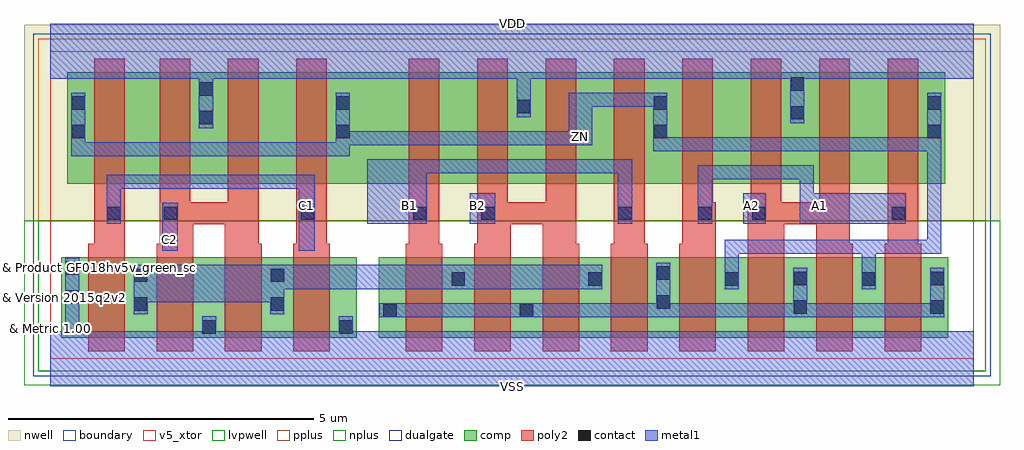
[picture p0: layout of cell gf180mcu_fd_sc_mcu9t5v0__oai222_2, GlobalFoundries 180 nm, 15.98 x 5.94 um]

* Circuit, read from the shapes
.subckt gf180mcu_fd_sc_mcu9t5v0__oai222_2 A1 A2 B1 B2 C1 C2 VDD VSS ZN
XM1 n1 C1 VSS VSUBS nfet_05v0 w=1.32u l=0.6u m=2
XM2 VSS C2 n1 VSUBS nfet_05v0 w=1.32u l=0.6u m=2
XM3 n1 B1 n2 VSUBS nfet_05v0 w=1.32u l=0.6u m=2
XM4 n2 B2 n1 VSUBS nfet_05v0 w=1.32u l=0.6u m=2
XM5 ZN A1 n2 VSUBS nfet_05v0 w=1.32u l=0.6u m=2
XM6 n2 A2 ZN VSUBS nfet_05v0 w=1.32u l=0.6u m=2
XM7 n3 C1 ZN n4 pfet_05v0 w=1.83u l=0.5u
XM8 VDD C2 n3 n4 pfet_05v0 w=1.83u l=0.5u
XM9 n5 C2 VDD n4 pfet_05v0 w=1.83u l=0.5u
XM10 ZN C1 n5 n4 pfet_05v0 w=1.83u l=0.5u
XM11 n6 B1 ZN n4 pfet_05v0 w=1.83u l=0.5u
XM12 VDD B2 n6 n4 pfet_05v0 w=1.83u l=0.5u
XM13 n7 B2 VDD n4 pfet_05v0 w=1.83u l=0.5u
XM14 ZN B1 n7 n4 pfet_05v0 w=1.83u l=0.5u
XM15 n8 A1 ZN n4 pfet_05v0 w=1.83u l=0.5u
XM16 VDD A2 n8 n4 pfet_05v0 w=1.83u l=0.5u
XM17 n9 A2 VDD n4 pfet_05v0 w=1.83u l=0.5u
XM18 ZN A1 n9 n4 pfet_05v0 w=1.83u l=0.5u
.ends

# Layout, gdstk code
import gdstk
lib = gdstk.Library(unit=1e-6, precision=1e-09)
def R(c, l, rs):  # rectangles x0, y0, x1, y1
    for r in rs: c.add(gdstk.rectangle(r[:2], r[2:], *l))
def A(c, l, x, y, w, h, nx, ny, dx, dy):  # array of equal rectangles
    R(c, l, [(x+i*dx, y+j*dy, x+i*dx+w, y+j*dy+h) for i in range(nx) for j in range(ny)])
def P(c, l, *ps):  # polygons
    for p in ps: c.add(gdstk.Polygon(p, *l))
boundary = (0, 0)
nwell = (21, 0)
comp = (22, 0)
poly2 = (30, 0)
pplus = (31, 0)
nplus = (32, 0)
contact = (33, 0)
metal1 = (34, 0)
dualgate = (55, 0)
v5_xtor = (112, 1)
lvpwell = (204, 0)

gf180mcu_fd_sc_mcu9t5v0_ = lib.new_cell('gf180mcu_fd_sc_mcu9t5v0__oai222_2')
R(gf180mcu_fd_sc_mcu9t5v0_, boundary, [(0,0,15.12,5.04)])
R(gf180mcu_fd_sc_mcu9t5v0_, nwell, [(-0.43,2.265,15.55,5.47)])
R(gf180mcu_fd_sc_mcu9t5v0_, comp, [(0.18,0.345,5.02,1.665), (5.38,0.345,14.7,1.665), (0.28,2.865,14.65,4.695)])
P(gf180mcu_fd_sc_mcu9t5v0_, poly2, [(0.62,0.125),(0.62,1.885),(0.72,1.885),(0.72,4.915),(1.22,4.915),(1.22,0.125)],
  [(1.74,0.125),(1.74,1.885),(1.79,1.885),(1.79,4.915),(2.29,4.915),(2.29,2.565),(2.91,2.565),(2.91,4.915),(3.41,4.915),(3.41,1.885),(3.46,1.885),(3.46,0.125),(2.86,0.125),(2.86,2.205),(2.34,2.205),(2.34,0.125)],
  [(3.98,0.125),(3.98,1.885),(4.03,1.885),(4.03,4.915),(4.53,4.915),(4.53,1.885),(4.58,1.885),(4.58,0.125)],
  [(5.82,0.125),(5.82,1.885),(5.87,1.885),(5.87,4.915),(6.37,4.915),(6.37,1.885),(6.42,1.885),(6.42,0.125)],
  [(6.94,0.125),(6.94,1.885),(6.99,1.885),(6.99,4.915),(7.49,4.915),(7.49,2.565),(8.11,2.565),(8.11,4.915),(8.61,4.915),(8.61,1.885),(8.66,1.885),(8.66,0.125),(8.06,0.125),(8.06,2.205),(7.54,2.205),(7.54,0.125)],
  [(9.18,0.125),(9.18,1.885),(9.23,1.885),(9.23,4.915),(9.73,4.915),(9.73,1.885),(9.78,1.885),(9.78,0.125)],
  [(10.3,0.125),(10.3,1.885),(10.35,1.885),(10.35,4.915),(10.85,4.915),(10.85,2.565),(10.9,2.565),(10.9,0.125)],
  [(11.42,0.125),(11.42,2.565),(11.47,2.565),(11.47,4.915),(11.97,4.915),(11.97,2.565),(12.59,2.565),(12.59,4.915),(13.09,4.915),(13.09,1.885),(13.14,1.885),(13.14,0.125),(12.54,0.125),(12.54,2.205),(12.02,2.205),(12.02,0.125)],
  [(13.66,0.125),(13.66,1.885),(13.71,1.885),(13.71,4.915),(14.21,4.915),(14.21,1.885),(14.26,1.885),(14.26,0.125)])
R(gf180mcu_fd_sc_mcu9t5v0_, pplus, [(-0.2,2.265,15.32,5.24)])
R(gf180mcu_fd_sc_mcu9t5v0_, nplus, [(-0.2,-0.2,15.32,2.265)])
A(gf180mcu_fd_sc_mcu9t5v0_, contact, 6.57, 1.2, 0.22, 0.22, 4, 1, 2.24, 0)
R(gf180mcu_fd_sc_mcu9t5v0_, contact, [(2.49,0.415,2.71,0.635), (4.73,0.415,4.95,0.635), (5.45,0.685,5.67,0.905), (7.69,0.685,7.91,0.905), (12.17,0.74,12.39,0.96), (14.41,0.74,14.63,0.96), (1.37,0.79,1.59,1.01), (3.61,0.79,3.83,1.01), (9.93,0.825,10.15,1.045), (0.25,0.905,0.47,1.125), (12.17,1.21,12.39,1.43), (14.41,1.21,14.63,1.43), (1.37,1.26,1.59,1.48), (3.61,1.26,3.83,1.48), (9.93,1.295,10.15,1.515), (0.25,1.375,0.47,1.595), (0.93,2.275,1.15,2.495), (1.86,2.275,2.08,2.495), (4.1,2.275,4.32,2.495), (5.94,2.275,6.16,2.495), (7.06,2.275,7.28,2.495), (9.3,2.275,9.52,2.495), (10.61,2.275,10.83,2.495), (11.49,2.275,11.71,2.495), (13.78,2.275,14,2.495), (0.35,3.61,0.57,3.83), (4.68,3.61,4.9,3.83), (9.88,3.61,10.1,3.83), (14.36,3.61,14.58,3.83), (2.44,3.84,2.66,4.06), (12.12,3.92,12.34,4.14), (7.64,4.02,7.86,4.24), (0.35,4.08,0.57,4.3), (4.68,4.08,4.9,4.3), (9.88,4.08,10.1,4.3), (14.36,4.08,14.58,4.3), (2.44,4.31,2.66,4.53), (12.12,4.39,12.34,4.61)])
R(gf180mcu_fd_sc_mcu9t5v0_, metal1, [(1.83,1.77,2.09,2.555), (6.87,2.215,7.285,2.71), (11.35,2.215,11.715,2.71)])
P(gf180mcu_fd_sc_mcu9t5v0_, metal1, [(4.07,1.77),(4.07,2.785),(1.155,2.785),(1.155,2.215),(0.925,2.215),(0.925,3.015),(4.33,3.015),(4.33,1.77)],
  [(1.365,0.73),(1.365,1.54),(9.035,1.54),(9.035,1.14),(3.835,1.14),(3.835,0.73),(3.605,0.73),(3.605,0.925),(1.595,0.925),(1.595,0.73)],
  [(5.19,2.215),(5.19,3.27),(9.525,3.27),(9.525,2.215),(9.295,2.215),(9.295,3.04),(6.165,3.04),(6.165,2.215)],
  [(10.605,2.215),(10.605,3.17),(12.5,3.17),(12.5,2.71),(14.005,2.71),(14.005,2.215),(12.27,2.215),(12.27,2.94),(10.835,2.94),(10.835,2.215)],
  [(11.045,1.14),(11.045,1.95),(14.355,1.95),(14.355,3.4),(9.875,3.4),(9.875,4.13),(8.87,4.13),(8.87,3.5),(4.9,3.5),(4.9,3.32),(0.345,3.32),(0.345,4.36),(0.575,4.36),(0.575,3.55),(4.675,3.55),(4.675,4.36),(4.905,4.36),(4.905,3.73),(8.49,3.73),(8.49,4.36),(10.105,4.36),(10.105,3.63),(14.355,3.63),(14.355,4.36),(14.585,4.36),(14.585,1.72),(13.515,1.72),(13.515,1.14),(13.285,1.14),(13.285,1.72),(11.275,1.72),(11.275,1.14)],
  [(5.39,0.68),(5.39,0.91),(9.925,0.91),(9.925,1.575),(10.155,1.575),(10.155,0.91),(12.165,0.91),(12.165,1.49),(12.395,1.49),(12.395,0.91),(14.405,0.91),(14.405,1.49),(14.635,1.49),(14.635,0.68)],
  [(0,-0.45),(0,0.45),(0.245,0.45),(0.245,1.655),(0.475,1.655),(0.475,0.45),(2.485,0.45),(2.485,0.695),(2.715,0.695),(2.715,0.45),(4.725,0.45),(4.725,0.695),(4.955,0.695),(4.955,0.45),(15.12,0.45),(15.12,-0.45)],
  [(2.435,3.78),(2.435,4.59),(0,4.59),(0,5.49),(15.12,5.49),(15.12,4.59),(12.345,4.59),(12.345,3.86),(12.115,3.86),(12.115,4.59),(7.865,4.59),(7.865,3.96),(7.635,3.96),(7.635,4.59),(2.665,4.59),(2.665,3.78)])
R(gf180mcu_fd_sc_mcu9t5v0_, dualgate, [(-0.28,-0.28,15.4,5.32)])
R(gf180mcu_fd_sc_mcu9t5v0_, v5_xtor, [(0,0,15.12,5.04)])
R(gf180mcu_fd_sc_mcu9t5v0_, lvpwell, [(-0.43,-0.43,15.55,2.265)])
gf180mcu_fd_sc_mcu9t5v0_.add(gdstk.Label('A1', (12.6,2.52), layer=34, texttype=10))
gf180mcu_fd_sc_mcu9t5v0_.add(gdstk.Label('A2', (11.48,2.52), layer=34, texttype=10))
gf180mcu_fd_sc_mcu9t5v0_.add(gdstk.Label('B1', (5.88,2.52), layer=34, texttype=10))
gf180mcu_fd_sc_mcu9t5v0_.add(gdstk.Label('B2', (7,2.52), layer=34, texttype=10))
gf180mcu_fd_sc_mcu9t5v0_.add(gdstk.Label('C1', (4.2,2.52), layer=34, texttype=10))
gf180mcu_fd_sc_mcu9t5v0_.add(gdstk.Label('C2', (1.96,1.96), layer=34, texttype=10))
gf180mcu_fd_sc_mcu9t5v0_.add(gdstk.Label('VDD', (7.56,5.49), layer=34, texttype=10))
gf180mcu_fd_sc_mcu9t5v0_.add(gdstk.Label('VSS', (7.56,-0.45), layer=34, texttype=10))
gf180mcu_fd_sc_mcu9t5v0_.add(gdstk.Label('ZN', (8.68,3.64), layer=34, texttype=10))
gf180mcu_fd_sc_mcu9t5v0_.add(gdstk.Label('& Vendor GLOBALFOUNDRIES', (0,2), layer=63, texttype=63))
gf180mcu_fd_sc_mcu9t5v0_.add(gdstk.Label('& Product GF018hv5v_green_sc9', (0,1.5), layer=63, texttype=63))
gf180mcu_fd_sc_mcu9t5v0_.add(gdstk.Label('& Version 2015q2v2', (0,1), layer=63, texttype=63))
gf180mcu_fd_sc_mcu9t5v0_.add(gdstk.Label('& Metric 1.00', (0,0.5), layer=63, texttype=63))

lib.write_gds('gf180mcu_fd_sc_mcu9t5v0__oai222_2.gds')
